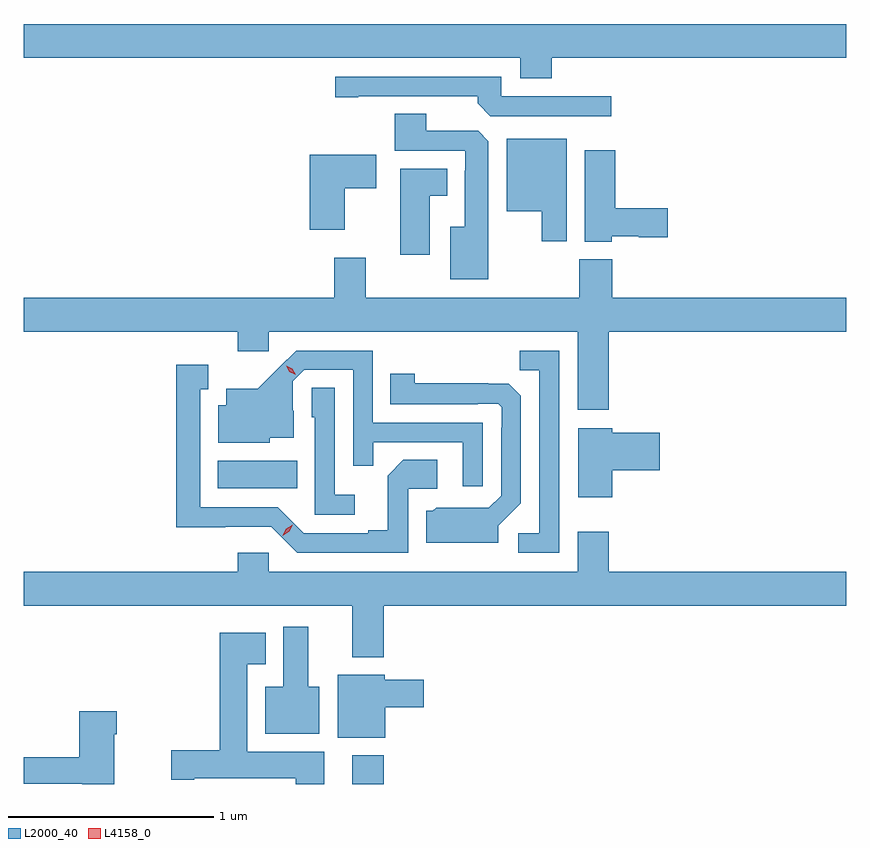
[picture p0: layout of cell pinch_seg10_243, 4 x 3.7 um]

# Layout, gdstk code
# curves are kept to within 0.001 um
import gdstk
lib = gdstk.Library(unit=1e-6, precision=1e-09)
def R(c, l, rs):  # rectangles x0, y0, x1, y1
    for r in rs: c.add(gdstk.rectangle(r[:2], r[2:], *l))
def P(c, l, *ps):  # polygons
    for p in ps: c.add(gdstk.Polygon(p, *l))
L2000_40 = (2000, 40)
L4158_0 = (4158, 0)

pinch_seg10_243 = lib.new_cell('pinch_seg10_243')
R(pinch_seg10_243, L2000_40, [(582.023,1300.78,582.176,1300.921), (581.369,1302.218,581.756,1302.352)])
P(pinch_seg10_243, L2000_40, [(582.992,1304.312),(584.425,1304.312),(584.425,1304.476),(580.425,1304.476),(580.425,1304.312),(582.839,1304.312),(582.839,1304.213),(582.992,1304.213)],
  [(583.282,1304.124),(582.747,1304.124),(582.747,1304.22),(581.94,1304.22),(581.94,1304.119),(582.052,1304.119),(582.052,1304.124),(582.632,1304.124),(582.632,1304.09),(582.693,1304.028),(583.282,1304.028)],
  [(582.685,1303.907),(582.636,1303.956),(582.382,1303.956),(582.382,1304.039),(582.23,1304.039),(582.23,1303.86),(582.573,1303.86),(582.573,1303.763),(582.569,1303.763),(582.569,1303.489),(582.5,1303.489),(582.5,1303.235),(582.685,1303.235)],
  [(583.066,1303.918),(582.773,1303.918),(582.773,1303.565),(582.944,1303.565),(582.944,1303.419),(583.066,1303.419)],
  [(583.284,1303.445),(583.415,1303.445),(583.415,1303.438),(583.558,1303.438),(583.558,1303.58),(583.301,1303.58),(583.301,1303.861),(583.154,1303.861),(583.154,1303.418),(583.284,1303.418)],
  [(581.986,1303.678),(582.139,1303.678),(582.139,1303.84),(581.816,1303.84),(581.816,1303.475),(581.986,1303.475)],
  [(582.4,1303.64),(582.484,1303.64),(582.484,1303.771),(582.257,1303.771),(582.257,1303.353),(582.4,1303.353)],
  [(583.271,1302.98),(584.425,1302.98),(584.425,1303.144),(583.286,1303.144),(583.286,1303.333),(583.126,1303.333),(583.126,1303.144),(582.088,1303.144),(582.088,1303.339),(581.936,1303.339),(581.936,1303.144),(580.425,1303.144),(580.425,1302.98),(581.465,1302.98),(581.465,1302.885),(581.616,1302.885),(581.616,1302.98),(583.118,1302.98),(583.118,1302.6),(583.271,1302.6)],
  [(582.657,1302.537),(582.123,1302.537),(582.123,1302.888),(581.75,1302.888),(581.563,1302.703),(581.411,1302.703),(581.411,1302.622),(581.372,1302.622),(581.372,1302.44),(581.622,1302.44),(581.622,1302.464),(581.737,1302.464),(581.737,1302.596),(581.733,1302.596),(581.733,1302.738),(581.79,1302.795),(582.027,1302.795),(582.027,1302.328),(582.125,1302.328),(582.125,1302.441),(582.561,1302.441),(582.561,1302.228),(582.657,1302.228)],
  [(583.029,1302.888),(582.838,1302.888),(582.838,1302.793),(582.933,1302.793),(582.933,1302),(582.831,1302),(582.831,1301.904),(583.029,1301.904)],
  [(582.294,1302.216),(582.436,1302.216),(582.436,1302.356),(582.271,1302.356),(582.195,1302.28),(582.195,1302.013),(582.101,1302.013),(582.101,1302),(581.787,1302),(581.661,1302.126),(581.284,1302.126),(581.284,1302.699),(581.323,1302.699),(581.323,1302.82),(581.166,1302.82),(581.166,1302.029),(581.628,1302.03),(581.754,1301.904),(582.294,1301.904)],
  [(582.733,1302.036),(582.843,1302.146),(582.843,1302.668),(582.784,1302.727),(582.327,1302.728),(582.327,1302.775),(582.208,1302.775),(582.208,1302.627),(582.632,1302.627),(582.632,1302.63),(582.732,1302.63),(582.75,1302.612),(582.75,1302.512),(582.747,1302.512),(582.747,1302.183),(582.687,1302.123),(582.43,1302.124),(582.414,1302.108),(582.383,1302.108),(582.383,1301.954),(582.733,1301.954)],
  [(582.034,1302.187),(581.937,1302.187),(581.937,1302.707),(581.826,1302.707),(581.826,1302.564),(581.841,1302.564),(581.841,1302.09),(582.034,1302.09)],
  [(583.288,1302.305),(583.519,1302.305),(583.519,1302.488),(583.288,1302.488),(583.288,1302.511),(583.121,1302.511),(583.121,1302.174),(583.288,1302.174)],
  [(582.176,1301.648),(584.425,1301.648),(584.425,1301.812),(583.271,1301.812),(583.271,1302.007),(583.118,1302.007),(583.118,1301.812),(581.616,1301.812),(581.616,1301.905),(581.465,1301.905),(581.465,1301.812),(580.425,1301.812),(580.425,1301.648),(582.023,1301.648),(582.023,1301.396),(582.176,1301.396)],
  [(581.863,1301.254),(581.809,1301.254),(581.809,1301.545),(581.687,1301.545),(581.687,1301.254),(581.6,1301.254),(581.6,1301.024),(581.863,1301.024)],
  [(581.887,1300.936),(581.512,1300.936),(581.512,1301.363),(581.602,1301.363),(581.602,1301.515),(581.378,1301.515),(581.378,1300.943),(581.142,1300.943),(581.142,1300.801),(581.254,1300.801),(581.254,1300.808),(581.747,1300.808),(581.747,1300.78),(581.887,1300.78)],
  [(582.184,1301.153),(582.37,1301.153),(582.37,1301.287),(582.18,1301.287),(582.18,1301.311),(581.951,1301.311),(581.951,1301.006),(582.184,1301.006)],
  [(580.864,1301.021),(580.877,1301.021),(580.877,1301.134),(580.694,1301.134),(580.694,1300.91),(580.425,1300.91),(580.425,1300.782),(580.71,1300.782),(580.71,1300.78),(580.864,1300.78)])
P(pinch_seg10_243, L4158_0, [(581.748,1302.77),(581.717,1302.785),(581.701,1302.815),(581.701,1302.815),(581.701,1302.815),(581.731,1302.8),(581.748,1302.77),(581.748,1302.77)],
  [(581.684,1301.988),(581.684,1301.989),(581.701,1302.022),(581.733,1302.041),(581.733,1302.041),(581.733,1302.04),(581.716,1302.008),(581.684,1301.988)])

lib.write_gds('pinch_seg10_243.gds')
